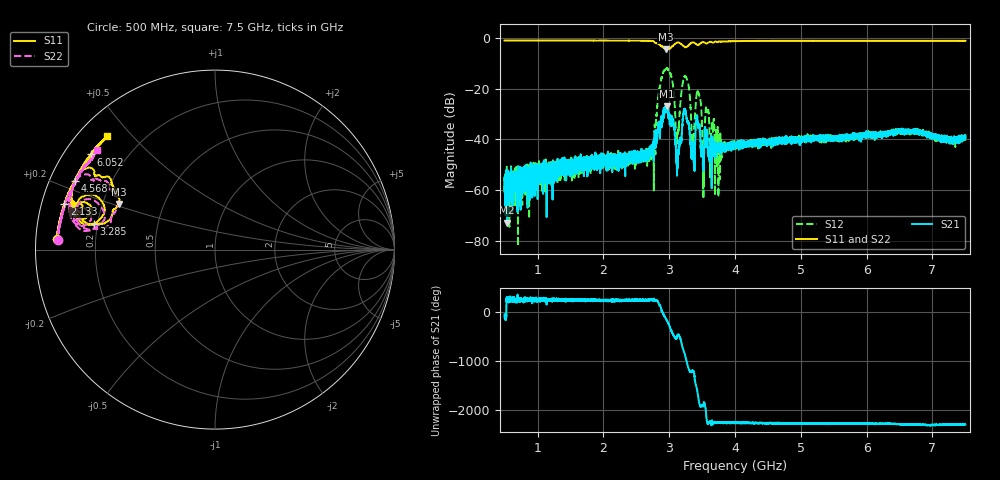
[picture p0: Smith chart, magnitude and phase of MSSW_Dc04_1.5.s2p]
!Keysight Technologies,M9374A,MY55442783,A.12.55.05
!Date: Wednesday, May 19, 2021 16:46:09
!Correction: S11(Full 2 Port(1,2))
!S21(Full 2 Port(1,2))
!S12(Full 2 Port(1,2))
!S22(Full 2 Port(1,2))
!S2P File: Measurements: S11, S21, S12, S22:
# Hz S  RI  R 50
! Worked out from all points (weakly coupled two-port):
!   7001 points, 500 MHz to 7.5 GHz, reference 50 ohm
!   highest |S21| = -26.94 dB at 2.961 GHz (marker M1); lowest = -72.8 dB at 541 MHz (marker M2)
!   lowest |S11| = -4.5 dB at 2.949 GHz (marker M3), VSWR 3.93, Z = 13.3 + j10.5 ohm
!   |S11| at or under -10 dB: nowhere
!   |S22| runs from -4.6 to -1.1 dB; largest |S21 - S12| = 0.22
!   S11 on the Smith chart (normalised r, x): 500 MHz: 0.06, +0.03; 2.133 GHz: 0.07, +0.15; 3.285 GHz: 0.18, +0.10; 4.568 GHz: 0.07, +0.23; 6.052 GHz: 0.08, +0.34; 7.5 GHz: 0.08, +0.43
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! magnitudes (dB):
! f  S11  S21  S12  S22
! 500 MHz  -1.1  -55.2  -60.9  -1.1
! 541 MHz  -1.1  -72.8  -57.7  -1.1
! 1.667 GHz  -1.1  -48.3  -47.6  -1.2
! 2.133 GHz  -1.1  -48.9  -47.6  -1.2
! 2.736 GHz  -1.3  -44.8  -45.9  -1.3
! 2.834 GHz  -2.4  -33.3  -23.5  -2.4
! 2.949 GHz  -4.5  -27.6  -12.2  -4.6
! 2.961 GHz  -4.5  -26.9  -11.9  -4.5
! 3.124 GHz  -1.9  -46.8  -37.9  -1.9
! 3.215 GHz  -3.2  -30.4  -16.6  -3.3
! 3.285 GHz  -3.2  -33.4  -17.6  -3.2
! 3.359 GHz  -1.8  -44.6  -41.0  -1.9
! 3.444 GHz  -2.8  -35.7  -21.6  -2.8
! 3.518 GHz  -1.7  -50.1  -55.0  -1.7
! 3.577 GHz  -2.2  -37.5  -29.4  -2.3
! 3.723 GHz  -1.7  -43.2  -42.5  -1.7
! 4 GHz  -1.3  -42.6  -41.6  -1.4
! 4.568 GHz  -1.2  -40.6  -41.4  -1.3
! 5.167 GHz  -1.2  -39.5  -39.3  -1.3
! 6.052 GHz  -1.2  -37.9  -38.0  -1.3
! 6.334 GHz  -1.2  -37.7  -37.4  -1.3
! 7.5 GHz  -1.2  -38.4  -39.0  -1.3
